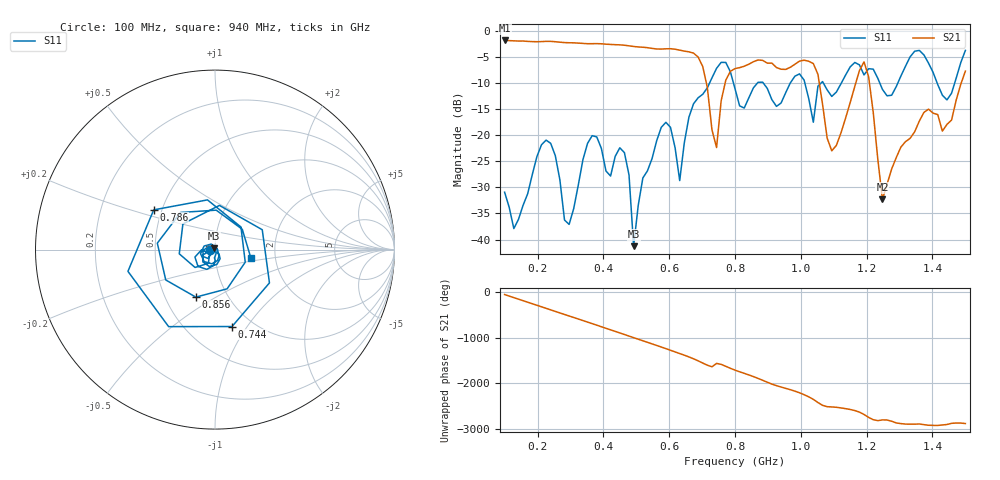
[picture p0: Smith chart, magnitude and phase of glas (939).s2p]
! NanoVNA-App
! Date: 2025-09-25 16:02:47
! Start: 100MHz Stop: 1,5GHz Points: 101
! S-Parameter data: F S11 S21 S12 S22
# Hz S RI R 50
!  Frequency  S11_Real  S11_Imag  S21_Real  S21_Imag  S12_Real  S12_Imag  S22_Real  S22_Imag
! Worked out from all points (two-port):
!   101 points, 100 MHz to 1.5 GHz, reference 50 ohm
!   highest |S21| = -1.80 dB at 100 MHz (marker M1); lowest = -32.3 dB at 1.248 GHz (marker M2)
!   |S21| within 3 dB of the highest: start of sweep to 684.5 MHz
!   lowest |S11| = -41.3 dB at 492 MHz (marker M3), VSWR 1.02, Z = 49.5 + j0.678 ohm
!   |S11| at or under -10 dB: start of sweep to 722.5 MHz; 795.5 MHz to 867.8 MHz (72.34 MHz wide, 8.7 % of centre); 886.3 MHz to 967.6 MHz (81.35 MHz wide, 8.78 % of centre) (the widest 3 of 7)
!   S12 and S22 are empty: the file has one direction only
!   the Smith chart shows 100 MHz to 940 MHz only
!   S11 on the Smith chart (normalised r, x): 100 MHz: 0.94, -0.01; 744 MHz: 0.80, -0.85; 786 MHz: 0.45, +0.24; 856 MHz: 0.71, -0.41; 940 MHz: 1.49, -0.14
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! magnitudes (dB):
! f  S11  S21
! 100 MHz  -30.9  -1.8
! 128 MHz  -37.9  -1.9
! 226 MHz  -20.9  -2.0
! 296 MHz  -37.1  -2.2
! 338 MHz  -24.7  -2.4
! 464 MHz  -23.3  -2.7
! 492 MHz  -41.3  -3.0
! 576 MHz  -18.5  -3.5
! 632 MHz  -28.7  -3.7
! 702 MHz  -12.1  -6.8
! 744 MHz  -7.2  -22.3
! 786 MHz  -7.8  -7.7
! 800 MHz  -11.1  -7.2
! 856 MHz  -10.9  -5.9
! 940 MHz  -13.8  -7.3
! 996 MHz  -8.2  -5.8
! 1.038 GHz  -17.5  -6.2
! 1.094 GHz  -12.5  -23.0
! 1.192 GHz  -8.4  -5.9
! 1.248 GHz  -11.2  -32.3
! 1.276 GHz  -12.3  -26.5
! 1.5 GHz  -3.7  -7.7
